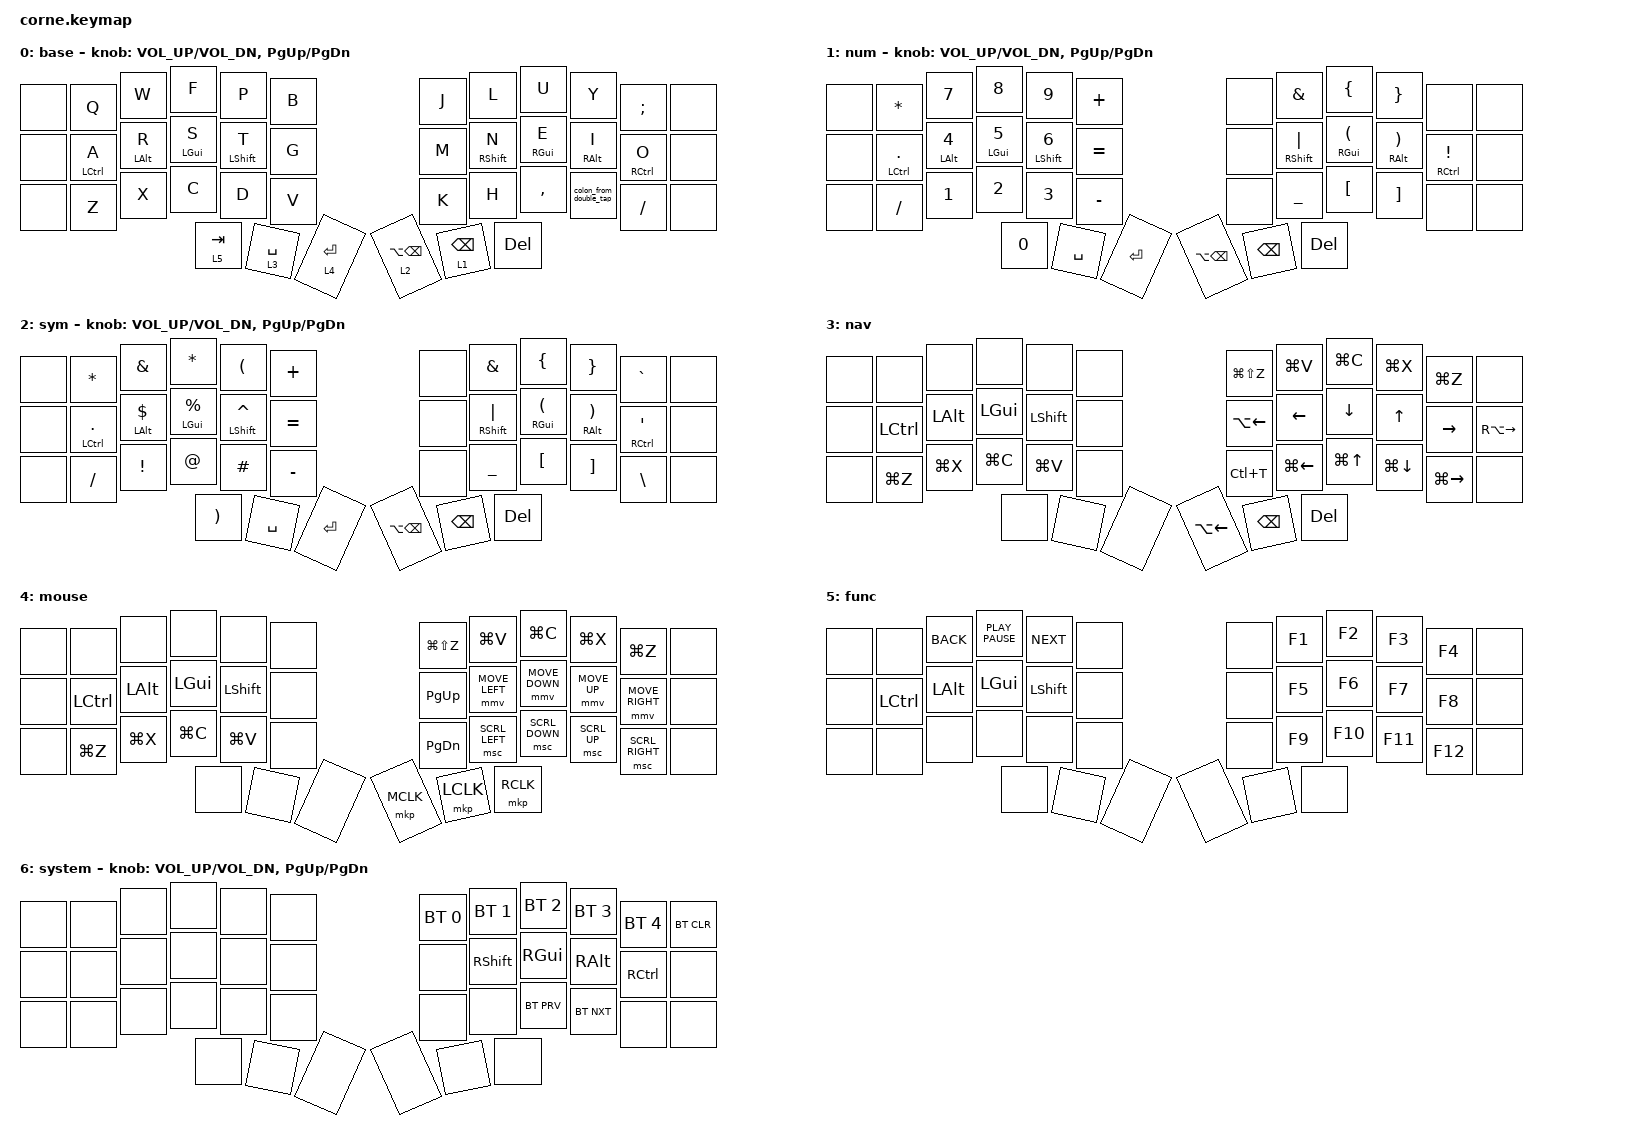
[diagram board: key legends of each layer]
#define ZMK_MOUSE_DEFAULT_MOVE_VAL 2250
#define U_MOUSE_MOVE_EXPONENT 2
#define U_MOUSE_MOVE_TIME 650
#define U_MOUSE_MOVE_DELAY 0
#define ZMK_MOUSE_DEFAULT_SCRL_VAL 100
#define U_MOUSE_SCROLL_EXPONENT 1
#define U_MOUSE_SCROLL_TIME 5000
#define U_MOUSE_SCROLL_DELAY 0l

#include <behaviors.dtsi>
#include <dt-bindings/zmk/bt.h>
#include <dt-bindings/zmk/keys.h>
#include <dt-bindings/zmk/pointing.h>

#define KEYS_L  0  1  2  3  4  5  14 15 16 17 18 19 28 29 30 31 32 33
#define KEYS_R  8  9 10 11 12 13 22 23 24 25 26 27 34 35 36 37 38 39
#define THUMBS_L 40 41 42
#define THUMBS_R 43 44 45

/ {
    combos {
        compatible = "zmk,combos";

        combo_studio_unlock {
            timeout-ms = <50>;
            key-positions = <0 1>;
            bindings = <&studio_unlock>;
        };

        system_layer_toggle {
            bindings = <&mo 6>;
            key-positions = <40 45>;
        };

        escape_with_qw {
            bindings = <&kp ESCAPE>;
            key-positions = <1 2>;
        };

        caps_word_from_double_shift {
            bindings = <&caps_word>;
            key-positions = <18 23>;
        };

        semi_colon_combo {
            bindings = <&kp SEMICOLON>;
            key-positions = <36 37>;
        };

        right_par_combo {
            bindings = <&kp RIGHT_PARENTHESIS>;
            key-positions = <10 11>;
        };

        left_par_combo {
            bindings = <&kp LEFT_PARENTHESIS>;
            key-positions = <3 2>;
        };

        right_brack_combo {
            bindings = <&kp RIGHT_BRACKET>;
            key-positions = <9 10>;
        };

        left_brack_combo {
            bindings = <&kp LEFT_BRACKET>;
            key-positions = <4 3>;
        };

        right_brace_combo {
            bindings = <&kp RIGHT_BRACE>;
            key-positions = <9 10 18>;
        };

        left_brace_combo {
            bindings = <&kp LEFT_BRACE>;
            key-positions = <4 3 23>;
        };

        less_than_combo {
            bindings = <&kp LESS_THAN>;
            key-positions = <3 2 23>;
        };

        greater_than_combo {
            bindings = <&kp GREATER_THAN>;
            key-positions = <10 11 18>;
        };

        equal_combo_left {
            bindings = <&kp KP_EQUAL>;
            key-positions = <4 3 2 23>;
        };

        equal_combo_right {
            bindings = <&kp KP_EQUAL>;
            key-positions = <9 10 11 18>;
        };

        underscore_combo {
            bindings = <&kp UNDERSCORE>;
            key-positions = <35 36>;
        };
    };
};

/ {
    behaviors {
        hl: home_row_hold_tap_left {
            compatible = "zmk,behavior-hold-tap";
            #binding-cells = <2>;
            flavor = "balanced";
            tapping-term-ms = <280>;
            quick-tap-ms = <175>;                // repeat on tap-into-hold
            require-prior-idle-ms = <150>;
            bindings = <&kp>, <&kp>;

            hold-trigger-key-positions = <KEYS_R THUMBS_R>;
            hold-trigger-on-release;             // delay positional check until key-release
        };

        hr: home_row_hold_tap_right {
            compatible = "zmk,behavior-hold-tap";
            #binding-cells = <2>;
            flavor = "balanced";
            tapping-term-ms = <280>;
            quick-tap-ms = <175>;                // repeat on tap-into-hold
            require-prior-idle-ms = <150>;
            bindings = <&kp>, <&kp>;

            hold-trigger-key-positions = <KEYS_L THUMBS_L>;
            hold-trigger-on-release;             // delay positional check until key-release
        };

        colon_from_double_tap: colon_from_double_tap {
            compatible = "zmk,behavior-tap-dance";
            label = "COLON_FROM_DOUBLE_TAP";
            #binding-cells = <0>;
            bindings = <&kp DOT>, <&kp COLON>;

            tapping-term-ms = <250>;
        };

        sticky_shift: sticky_shift {
            compatible = "zmk,behavior-sticky-key";
            label = "STICKY_SHIFT";
            bindings = <&kp>;
            #binding-cells = <1>;
            release-after-ms = <500>;
            quick-release;
        };

        sticky_shift_caps_word_doubtap: sticky_shift_caps_word_doubtap {
            compatible = "zmk,behavior-tap-dance";
            label = "STICKY_SHIFT_CAPS_WORD_DOUBTAP";
            #binding-cells = <0>;
            bindings = <&sticky_shift RIGHT_SHIFT>, <&caps_word>;

            tapping-term-ms = <250>;
        };
    };

    macros {
        parenth_macro: parenth_macro {
            compatible = "zmk,behavior-macro";
            #binding-cells = <0>;
            bindings = <&kp LPAR &kp RPAR &kp LEFT>;
            label = "PARENTH_MACRO";
        };

        bracket_macro: bracket_macro {
            compatible = "zmk,behavior-macro";
            #binding-cells = <0>;
            bindings = <&kp LBKT &kp RBKT &kp LEFT>;
            label = "BRACKET_MACRO";
        };

        brace_macro: brace_macro {
            compatible = "zmk,behavior-macro";
            #binding-cells = <0>;
            bindings = <&kp LBRC &kp RBRC &kp LEFT>;
            label = "BRACE_MACRO";
        };

        select_line_macro: select_line_macro {
            compatible = "zmk,behavior-macro";
            #binding-cells = <0>;
            bindings = <&kp HOME &kp LS(END)>;
            label = "SELECT_LINE_MACRO";
        };

        switch_window_rc: switch_window_rc {
            compatible = "zmk,behavior-macro";
            #binding-cells = <0>;
            bindings = <&kp LG(SPACE) &kp S &kp W>;
            label = "SWITCH_WINDOW_RC";
        };

        clear: clear {
            compatible = "zmk,behavior-macro";
            #binding-cells = <0>;
            bindings = <&kp C &kp L &kp E &kp A &kp R>;
            label = "CLEAR";
        };

        git_status: git_status {
            compatible = "zmk,behavior-macro";
            #binding-cells = <0>;
            bindings = <&kp G &kp I &kp T &kp SPACE &kp S &kp T &kp A &kp T &kp U &kp S>;
            label = "GIT_STATUS";
        };

        git_commit: git_commit {
            compatible = "zmk,behavior-macro";
            #binding-cells = <0>;
            bindings = <&kp G &kp I &kp T &kp SPACE &kp C &kp O &kp M &kp M &kp I &kp T &kp SPACE &kp MINUS &kp A &kp M &kp SPACE &kp DQT &kp DOUBLE_QUOTES &kp LEFT_ARROW>;
            label = "GIT_COMMIT";
        };
    };

    keymap {
        compatible = "zmk,keymap";

        base {
            display-name = "base";
            sensor-bindings = <&inc_dec_kp C_VOL_UP C_VOL_DN &inc_dec_kp PG_UP PG_DN>;
            bindings = <
&none  &kp Q  &kp W  &kp F  &kp P  &kp B  &kp J  &kp L  &kp U  &kp Y  &kp SEMI  &none  &none  &hl LEFT_CONTROL A  &hl LEFT_ALT R  &hl LEFT_GUI S  &hl LEFT_SHIFT T  &kp G  &kp M  &hr RIGHT_SHIFT N  &hr RIGHT_GUI E  &hr RIGHT_ALT I  &hr RIGHT_CONTROL O  &none  &none  &kp Z  &kp X  &kp C  &kp D  &kp V  &kp K  &kp H  &kp COMMA  &colon_from_double_tap  &kp FSLH  &none  &lt 5 TAB  &lt 3 SPACE  &lt 4 ENTER  &lt 2 LA(BACKSPACE)  &lt 1 BACKSPACE  &kp DELETE
            >;
        };

        num {
            display-name = "num";
            sensor-bindings = <&inc_dec_kp C_VOL_UP C_VOL_DN &inc_dec_kp PG_UP PG_DN>;
            bindings = <
&none  &kp ASTERISK  &kp NUMBER_7  &kp NUMBER_8  &kp NUMBER_9  &kp PLUS  &none  &kp AMPERSAND  &kp LEFT_BRACE  &kp RIGHT_BRACE  &none  &none  &none  &hl LEFT_CONTROL DOT  &hl LEFT_ALT NUMBER_4  &hl LEFT_GUI NUMBER_5  &hl LEFT_SHIFT NUMBER_6  &kp EQUAL  &none  &hr RIGHT_SHIFT PIPE  &hr RIGHT_GUI LEFT_PARENTHESIS  &hr RIGHT_ALT RIGHT_PARENTHESIS  &hr RIGHT_CONTROL EXCLAMATION  &none  &none  &kp FSLH  &kp NUMBER_1  &kp NUMBER_2  &kp NUMBER_3  &kp MINUS  &none  &kp UNDERSCORE  &kp LEFT_BRACKET  &kp RIGHT_BRACKET  &none  &none  &kp NUMBER_0  &kp SPACE  &kp ENTER  &kp LA(BACKSPACE)  &kp BACKSPACE  &kp DELETE
            >;
        };

        sym {
            display-name = "sym";
            bindings = <
&none  &kp ASTERISK  &kp AMPERSAND  &kp ASTERISK  &kp LEFT_PARENTHESIS  &kp PLUS  &none  &kp AMPERSAND  &kp LEFT_BRACE  &kp RIGHT_BRACE  &kp GRAVE  &none  &none  &hl LEFT_CONTROL PERIOD  &hl LEFT_ALT DOLLAR  &hl LEFT_GUI PERCENT  &hl LEFT_SHIFT CARET  &kp EQUAL  &none  &hr RIGHT_SHIFT PIPE  &hr RIGHT_GUI LEFT_PARENTHESIS  &hr RIGHT_ALT RIGHT_PARENTHESIS  &hr RIGHT_CONTROL APOSTROPHE  &none  &none  &kp FSLH  &kp EXCLAMATION  &kp AT_SIGN  &kp HASH  &kp MINUS  &none  &kp UNDERSCORE  &kp LEFT_BRACKET  &kp RIGHT_BRACKET  &kp BACKSLASH  &none  &kp RIGHT_PARENTHESIS  &kp SPACE  &kp ENTER  &kp LA(BACKSPACE)  &kp BACKSPACE  &kp DELETE
            >;

            sensor-bindings =
                <&inc_dec_kp C_VOL_UP C_VOL_DN>,
                <&inc_dec_kp PG_UP PG_DN>;
        };

        nav {
            bindings = <
&none  &none  &none  &none  &none  &none  &kp LG(LS(Z))  &kp LG(V)  &kp LG(C)  &kp LG(X)  &kp LG(Z)  &none  &none  &kp LCTRL  &kp LALT  &kp LGUI  &kp LSHFT  &none  &kp LA(LEFT_ARROW)  &kp LEFT  &kp DOWN  &kp UP  &kp RIGHT  &kp RA(RIGHT_ARROW)  &none  &kp LG(Z)  &kp LG(X)  &kp LG(C)  &kp LG(V)  &none  &kp LC(T)  &kp LG(LEFT)  &kp LG(UP)  &kp LG(DOWN)  &kp LG(RIGHT)  &none  &none  &none  &none  &kp LA(LEFT_ARROW)  &kp BSPC  &kp DEL
            >;
        };

        mouse {
            bindings = <
&none  &none  &none  &none  &none  &none  &kp LG(LS(Z))  &kp LG(V)  &kp LG(C)  &kp LG(X)  &kp LG(Z)  &none  &none  &kp LCTRL  &kp LALT  &kp LEFT_GUI  &kp LEFT_SHIFT  &none  &kp PAGE_UP  &mmv MOVE_LEFT  &mmv MOVE_DOWN  &mmv MOVE_UP  &mmv MOVE_RIGHT  &none  &none  &kp LG(Z)  &kp LG(X)  &kp LG(C)  &kp LG(V)  &none  &kp PAGE_DOWN  &msc SCRL_LEFT  &msc SCRL_DOWN  &msc SCRL_UP  &msc SCRL_RIGHT  &none  &none  &none  &none  &mkp MCLK  &mkp LCLK  &mkp RCLK
            >;
        };

        func {
            bindings = <
&none  &none  &kp K_BACK  &kp K_PLAY_PAUSE  &kp K_NEXT  &none  &none  &kp F1  &kp F2  &kp F3  &kp F4  &none  &none  &kp LEFT_CONTROL  &kp LEFT_ALT  &kp LEFT_GUI  &kp LEFT_SHIFT  &none  &none  &kp F5  &kp F6  &kp F7  &kp F8  &none  &none  &none  &none  &none  &none  &none  &none  &kp F9  &kp F10  &kp F11  &kp F12  &none  &none  &none  &none  &none  &none  &none
            >;
        };

        system {
            display-name = "system";
            bindings = <
&none  &none  &none  &none  &none  &none  &bt BT_SEL 0  &bt BT_SEL 1  &bt BT_SEL 2  &bt BT_SEL 3  &bt BT_SEL 4  &bt BT_CLR  &none  &none  &none  &none  &none  &none  &none  &kp RIGHT_SHIFT  &kp RIGHT_GUI  &kp RIGHT_ALT  &kp RIGHT_CONTROL  &none  &none  &none  &none  &none  &none  &none  &none  &none  &bt BT_PRV  &bt BT_NXT  &none  &none  &none  &none  &none  &none  &none  &none
            >;

            sensor-bindings =
                <&inc_dec_kp C_VOL_UP C_VOL_DN>,
                <&inc_dec_kp PG_UP PG_DN>;
        };
    };
};
